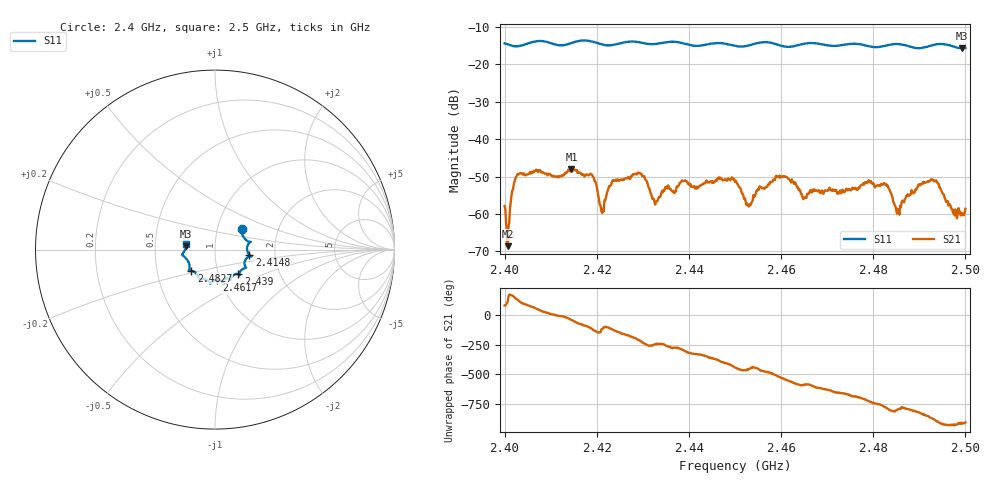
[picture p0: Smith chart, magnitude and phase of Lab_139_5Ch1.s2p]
# Hz S RI R 50
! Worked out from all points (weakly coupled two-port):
!   601 points, 2.4 GHz to 2.5 GHz, reference 50 ohm
!   highest |S21| = -48.05 dB at 2.4145 GHz (marker M1); lowest = -68.6 dB at 2.4007 GHz (marker M2)
!   lowest |S11| = -15.7 dB at 2.4993 GHz (marker M3), VSWR 1.39, Z = 36 + j1.42 ohm
!   |S11| at or under -10 dB: start of sweep to end of sweep
!   S12 and S22 are empty: the file has one direction only
!   S11 on the Smith chart (normalised r, x): 2.4 GHz: 1.31, +0.31; 2.4148 GHz: 1.47, -0.09; 2.439 GHz: 1.24, -0.35; 2.4617 GHz: 0.96, -0.34; 2.4827 GHz: 0.75, -0.18; 2.5 GHz: 0.72, +0.05
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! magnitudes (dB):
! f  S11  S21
! 2.4 GHz  -14.4  -57.9
! 2.4007 GHz  -14.7  -68.6
! 2.403 GHz  -15.2  -49.5
! 2.4145 GHz  -14.4  -48.1
! 2.4148 GHz  -14.2  -48.3
! 2.4167 GHz  -13.7  -49.4
! 2.4192 GHz  -14.0  -50.0
! 2.421 GHz  -14.7  -59.3
! 2.4237 GHz  -14.8  -51.1
! 2.4288 GHz  -14.1  -49.1
! 2.4333 GHz  -14.5  -55.9
! 2.439 GHz  -14.5  -51.1
! 2.45 GHz  -15.1  -51.5
! 2.453 GHz  -15.0  -58.0
! 2.4617 GHz  -15.4  -50.7
! 2.4667 GHz  -14.4  -54.3
! 2.4827 GHz  -15.0  -52.2
! 2.4833 GHz  -14.9  -53.1
! 2.4855 GHz  -14.6  -58.7
! 2.4932 GHz  -14.8  -51.3
! 2.4993 GHz  -15.7  -59.8
! 2.5 GHz  -15.7  -58.6
